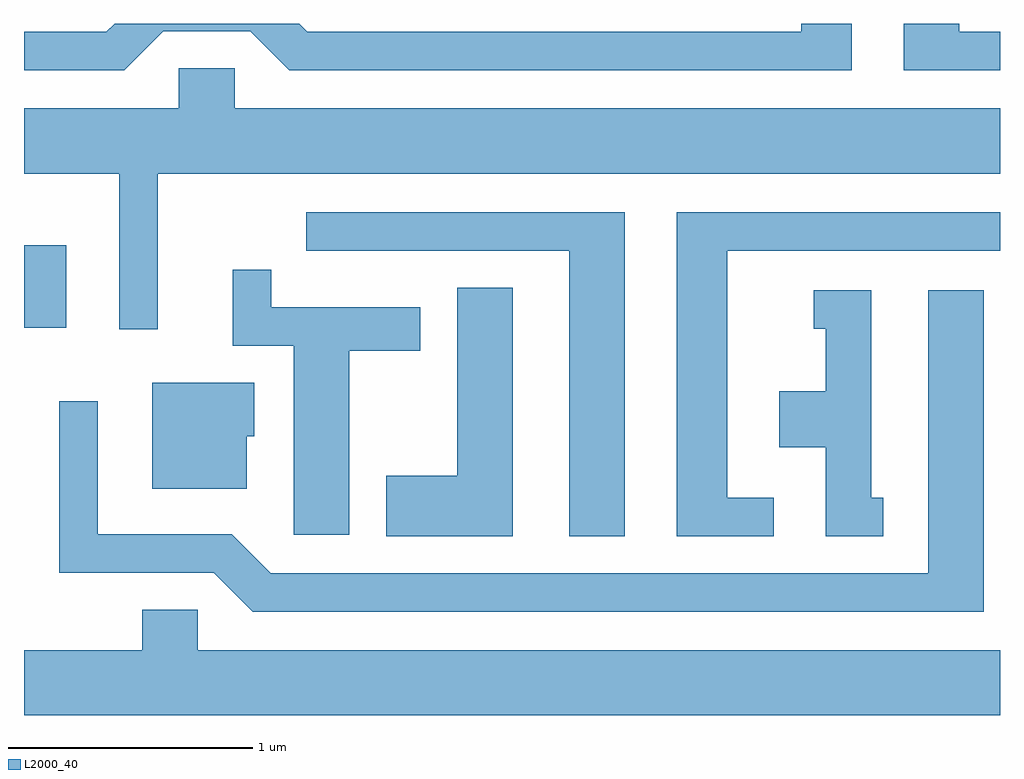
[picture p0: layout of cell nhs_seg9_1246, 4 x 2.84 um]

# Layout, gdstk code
import gdstk
lib = gdstk.Library(unit=1e-6, precision=1e-09)
def R(c, l, rs):  # rectangles x0, y0, x1, y1
    for r in rs: c.add(gdstk.rectangle(r[:2], r[2:], *l))
def P(c, l, *ps):  # polygons
    for p in ps: c.add(gdstk.Polygon(p, *l))
L2000_40 = (2000, 40)

nhs_seg9_1246 = lib.new_cell('nhs_seg9_1246')
R(nhs_seg9_1246, L2000_40, [(221.611,1991.186,221.784,1991.524)])
P(nhs_seg9_1246, L2000_40, [(225.611,1992.399),(225.444,1992.399),(225.444,1992.432),(225.216,1992.432),(225.216,1992.241),(225.611,1992.241)],
  [(222.182,1992.401),(222.539,1992.401),(222.699,1992.241),(225.004,1992.241),(225.004,1992.432),(224.796,1992.432),(224.796,1992.399),(222.772,1992.399),(222.739,1992.432),(221.982,1992.432),(221.949,1992.399),(221.611,1992.399),(221.611,1992.241),(222.022,1992.241)],
  [(222.159,1991.816),(225.611,1991.816),(225.611,1992.084),(222.474,1992.084),(222.474,1992.249),(222.246,1992.249),(222.246,1992.084),(221.611,1992.084),(221.611,1991.816),(222.001,1991.816),(222.001,1991.178),(222.159,1991.178)],
  [(224.074,1991.659),(222.768,1991.659),(222.768,1991.501),(223.846,1991.501),(223.846,1990.331),(224.074,1990.331)],
  [(224.683,1990.489),(224.494,1990.489),(224.494,1991.501),(225.611,1991.501),(225.611,1991.659),(224.286,1991.659),(224.286,1990.331),(224.683,1990.331)],
  [(222.944,1991.091),(223.234,1991.091),(223.234,1991.269),(222.624,1991.269),(222.624,1991.423),(222.466,1991.423),(222.466,1991.111),(222.716,1991.111),(222.716,1990.336),(222.944,1990.336)],
  [(223.614,1991.349),(223.386,1991.349),(223.386,1990.579),(223.096,1990.579),(223.096,1990.331),(223.614,1990.331)],
  [(225.544,1991.339),(225.316,1991.339),(225.316,1990.179),(222.622,1990.179),(222.462,1990.339),(221.914,1990.339),(221.914,1990.883),(221.756,1990.883),(221.756,1990.181),(222.389,1990.181),(222.549,1990.021),(225.544,1990.021)],
  [(225.133,1990.489),(225.084,1990.489),(225.084,1991.339),(224.848,1991.339),(224.848,1991.181),(224.896,1991.181),(224.896,1990.924),(224.706,1990.924),(224.706,1990.696),(224.896,1990.696),(224.896,1990.331),(225.133,1990.331)],
  [(222.524,1990.741),(222.554,1990.741),(222.554,1990.959),(222.136,1990.959),(222.136,1990.526),(222.524,1990.526)],
  [(225.611,1989.864),(222.324,1989.864),(222.324,1990.029),(222.096,1990.029),(222.096,1989.864),(221.611,1989.864),(221.611,1989.596),(225.611,1989.596)])

lib.write_gds('nhs_seg9_1246.gds')
